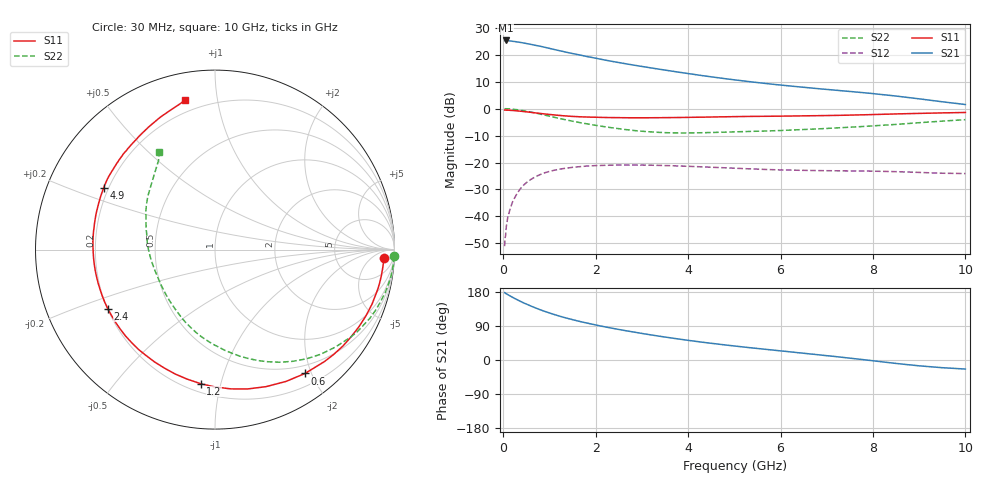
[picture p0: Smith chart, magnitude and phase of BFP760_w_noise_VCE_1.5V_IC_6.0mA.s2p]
! Infineon Technologies  Discrete & RF Semiconductors
! BFP760
! VCE =  1.5 V,  IC =  6.0 mA
! Common Emitter S-Parameters:  Nov 2012
# GHz  S  MA  R  50
!  f  S11  S21  S12  S22
! GHz  MAG  ANG  MAG  ANG  MAG  ANG  MAG  ANG
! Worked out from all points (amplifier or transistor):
!   99 points, 30 MHz to 10 GHz, reference 50 ohm
!   highest |S21| = 25.3 dB at 50 MHz (marker M1)
!   |S21| within 3 dB of that: start of sweep to 1.015 GHz
!   unconditionally stable (mu >= 1): 6.052 GHz to end of sweep
!   at 350 MHz: K = 0.09, MSG = 27.5 dB, |S12| = -30.3 dB
!   at 3.5 GHz: K = 0.53, MSG = 17.7 dB, |S12| = -21.1 dB
!   at 10 GHz: K = 1.31, MAG = 9.5 dB, |S12| = -24.1 dB
!   lowest NFmin = 0.43 dB at 900 MHz
!   S11 on the Smith chart (normalised r, x): 30 MHz: 19, -17; 600 MHz: 0.38, -1.90; 1.2 GHz: 0.25, -0.87; 2.4 GHz: 0.20, -0.25; 4.9 GHz: 0.18, +0.25; 10 GHz: 0.14, +0.81
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0.03  0.9422 -3.0  18.19 177.8  0.0028 86.2  0.9989 -2.2
0.04  0.9429 -3.9  18.22 177.3  0.004 88.5  0.9981 -2.9
0.05  0.9409 -4.8  18.46 175.9  0.0043 98.8  0.9968 -3.5
0.2  0.9262 -19.1  17.81 165.6  0.0184 78.4  0.9783 -14.1
0.35  0.9007 -32.7  17.09 156.1  0.0307 70.3  0.9436 -24.0
0.45  0.8825 -41.4  16.51 150.2  0.0386 65.8  0.9147 -30.2
0.6  0.8531 -54.0  15.61 142.3  0.0487 58.4  0.8623 -39.1
0.8  0.8147 -69.6  14.42 132.6  0.0598 50.2  0.7941 -50.0
0.9  0.7974 -76.8  13.79 128.2  0.0646 46.2  0.7587 -55.1
1.2  0.7513 -96.1  12.01 116.4  0.0747 36.5  0.6631 -68.8
1.4  0.7281 -107.6  10.99 109.6  0.0793 31.2  0.6097 -76.9
1.7  0.704 -123.1  9.728 100.5  0.0844 24.6  0.5421 -88.1
2.1  0.689 -140.3  8.304 89.8  0.0881 17.0  0.4756 -102.4
2.4  0.6822 -151.2  7.436 82.9  0.0895 12.4  0.4365 -112.2
2.8  0.6775 -164.2  6.486 74.2  0.0899 7.1  0.3955 -125.0
3.4  0.6798 179.0  5.36 62.4  0.0884 0.6  0.3621 -143.8
4.2  0.6932 161.9  4.234 48.7  0.0838 -5.5  0.3559 -165.3
4.9  0.7088 151.2  3.516 38.4  0.079 -8.6  0.3687 -178.6
5.1  0.7133 148.7  3.35 35.7  0.0778 -9.2  0.3732 178.3
6.7  0.7394 132.9  2.401 15.3  0.0711 -10.4  0.4173 157.3
8.5  0.7985 112.4  1.714 -9.1  0.0677 -12.6  0.5103 133.9
10  0.8496 101.3  1.194 -23.9  0.0624 -10.3  0.625 119.8
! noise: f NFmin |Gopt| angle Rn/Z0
0.9  0.43  0.36  26  0.11
1.8  0.51  0.31  54  0.1
2.4  0.6  0.27  76  0.09
3.5  0.77  0.22  111  0.08
5.5  0.98  0.33  -152  0.08
8  1.52  0.45  -100  0.25
